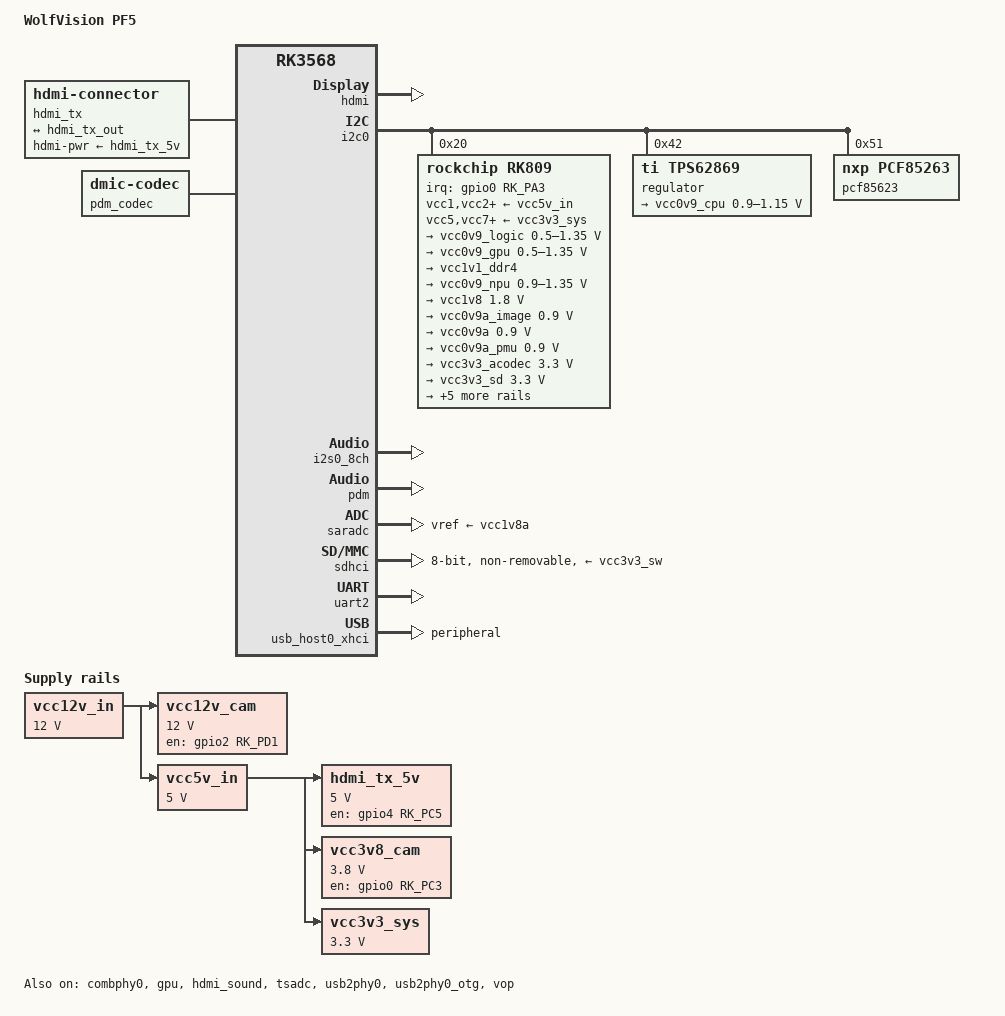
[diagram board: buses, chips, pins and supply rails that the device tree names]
// SPDX-License-Identifier: (GPL-2.0-or-later OR MIT)
/*
 * Device tree for the WolfVision PF5 mainboard.
 *
 * Copyright (C) 2024 WolfVision GmbH.
 */

/dts-v1/;
#include <dt-bindings/gpio/gpio.h>
#include <dt-bindings/pinctrl/rockchip.h>
#include <dt-bindings/regulator/ti,tps62864.h>
#include <dt-bindings/soc/rockchip,vop2.h>
#include "rk3568.dtsi"

/ {
	model = "WolfVision PF5";
	compatible = "wolfvision,rk3568-pf5", "rockchip,rk3568";

	aliases {
		ethernet0 = &gmac0;
		mmc0 = &sdhci;
		rtc0 = &pcf85623;
		rtc1 = &rk809;
	};

	chosen: chosen {
		stdout-path = "serial2:115200n8";
	};

	hdmi_tx: hdmi-tx-connector {
		compatible = "hdmi-connector";
		hdmi-pwr-supply = <&hdmi_tx_5v>;
		type = "a";

		port {
			hdmi_tx_in: endpoint {
				remote-endpoint = <&hdmi_tx_out>;
			};
		};
	};

	hdmi_tx_5v: regulator-hdmi-tx-5v {
		compatible = "regulator-fixed";
		enable-active-high;
		gpio = <&gpio4 RK_PC5 GPIO_ACTIVE_HIGH>;
		pinctrl-names = "default";
		pinctrl-0 = <&hdmi_tx_5v_en>;
		regulator-name = "hdmi_tx_5v";
		regulator-min-microvolt = <5000000>;
		regulator-max-microvolt = <5000000>;
		vin-supply = <&vcc5v_in>;
	};

	pdm_codec: pdm-codec {
		compatible = "dmic-codec";
		num-channels = <2>;
		#sound-dai-cells = <0>;
	};

	pdm_sound: pdm-sound {
		compatible = "simple-audio-card";
		simple-audio-card,name = "microphone";

		simple-audio-card,cpu {
			sound-dai = <&pdm>;
		};

		simple-audio-card,codec {
			sound-dai = <&pdm_codec>;
		};
	};

	vcc12v_cam: regulator-vcc12v-cam {
		compatible = "regulator-fixed";
		enable-active-high;
		gpio = <&gpio2 RK_PD1 GPIO_ACTIVE_HIGH>;
		pinctrl-names = "default";
		pinctrl-0 = <&vcc12v_cam_en>;
		regulator-name = "12v_cam";
		regulator-min-microvolt = <12000000>;
		regulator-max-microvolt = <12000000>;
		vin-supply = <&vcc12v_in>;
	};

	vcc12v_in: regulator-vcc12v-in {
		compatible = "regulator-fixed";
		regulator-name = "12v_in";
		regulator-always-on;
		regulator-boot-on;
		regulator-min-microvolt = <12000000>;
		regulator-max-microvolt = <12000000>;
	};

	vcc3v8_cam: regulator-vcc3v8-cam {
		compatible = "regulator-fixed";
		enable-active-high;
		gpio = <&gpio0 RK_PC3 GPIO_ACTIVE_HIGH>;
		pinctrl-names = "default";
		pinctrl-0 = <&vcc3v8_cam_en>;
		regulator-name = "3v8_cam";
		regulator-min-microvolt = <3800000>;
		regulator-max-microvolt = <3800000>;
		vin-supply = <&vcc5v_in>;
	};

	vcc3v3_sys: regulator-vcc3v3-sys {
		compatible = "regulator-fixed";
		regulator-name = "3v3_sys";
		regulator-always-on;
		regulator-boot-on;
		regulator-min-microvolt = <3300000>;
		regulator-max-microvolt = <3300000>;
		vin-supply = <&vcc5v_in>;
	};

	vcc5v_in: regulator-vcc5v-in {
		compatible = "regulator-fixed";
		regulator-name = "5v_in";
		regulator-always-on;
		regulator-boot-on;
		regulator-min-microvolt = <5000000>;
		regulator-max-microvolt = <5000000>;
		vin-supply = <&vcc12v_in>;
	};
};

&combphy0 {
	status = "okay";
};

&cpu0 {
	cpu-supply = <&vcc0v9_cpu>;
};

&cpu1 {
	cpu-supply = <&vcc0v9_cpu>;
};

&cpu2 {
	cpu-supply = <&vcc0v9_cpu>;
};

&cpu3 {
	cpu-supply = <&vcc0v9_cpu>;
};

&gpu {
	mali-supply = <&vcc0v9_gpu>;
	status = "okay";
};

&hdmi {
	avdd-0v9-supply = <&vcc0v9a_image>;
	avdd-1v8-supply = <&vcc1v8a_image>;
	status = "okay";
};

&hdmi_in {
	hdmi_in_vp0: endpoint {
		remote-endpoint = <&vp0_out_hdmi>;
	};
};

&hdmi_out {
	hdmi_tx_out: endpoint {
		remote-endpoint = <&hdmi_tx_in>;
	};
};

&hdmi_sound {
	status = "okay";
};

&i2c0 {
	status = "okay";

	rk809: pmic@20 {
		compatible = "rockchip,rk809";
		reg = <0x20>;
		interrupt-parent = <&gpio0>;
		interrupts = <RK_PA3 IRQ_TYPE_LEVEL_LOW>;
		#clock-cells = <0>;
		pinctrl-names = "default";
		pinctrl-0 = <&pmic_int_l>;
		system-power-controller;
		vcc1-supply = <&vcc5v_in>;
		vcc2-supply = <&vcc5v_in>;
		vcc3-supply = <&vcc5v_in>;
		vcc4-supply = <&vcc5v_in>;
		vcc5-supply = <&vcc3v3_sys>;
		vcc6-supply = <&vcc5v_in>;
		vcc7-supply = <&vcc3v3_sys>;
		vcc8-supply = <&vcc3v3_sys>;
		vcc9-supply = <&vcc3v3_sys>;
		wakeup-source;

		regulators {
			vcc0v9_logic: DCDC_REG1 {
				regulator-name = "0v9_logic";
				regulator-always-on;
				regulator-boot-on;
				regulator-initial-mode = <0x2>;
				regulator-min-microvolt = <500000>;
				regulator-max-microvolt = <1350000>;
				regulator-ramp-delay = <6001>;

				regulator-state-mem {
					regulator-off-in-suspend;
				};
			};

			vcc0v9_gpu: DCDC_REG2 {
				regulator-name = "0v9_gpu";
				regulator-always-on;
				regulator-initial-mode = <0x2>;
				regulator-min-microvolt = <500000>;
				regulator-max-microvolt = <1350000>;
				regulator-ramp-delay = <6001>;

				regulator-state-mem {
					regulator-off-in-suspend;
				};
			};

			vcc1v1_ddr4: DCDC_REG3 {
				regulator-name = "1v1_ddr4";
				regulator-always-on;
				regulator-boot-on;
				regulator-initial-mode = <0x2>;

				regulator-state-mem {
					regulator-on-in-suspend;
				};
			};

			vcc0v9_npu: DCDC_REG4 {
				regulator-name = "0v9_npu";
				regulator-always-on;
				regulator-initial-mode = <0x2>;
				regulator-min-microvolt = <900000>;
				regulator-max-microvolt = <1350000>;
				regulator-ramp-delay = <6001>;

				regulator-state-mem {
					regulator-off-in-suspend;
				};
			};

			vcc1v8: DCDC_REG5 {
				regulator-name = "1v8";
				regulator-always-on;
				regulator-boot-on;
				regulator-min-microvolt = <1800000>;
				regulator-max-microvolt = <1800000>;

				regulator-state-mem {
					regulator-off-in-suspend;
				};
			};

			vcc0v9a_image: LDO_REG1 {
				regulator-name = "0v9a_image";
				regulator-min-microvolt = <900000>;
				regulator-max-microvolt = <900000>;

				regulator-state-mem {
					regulator-off-in-suspend;
				};
			};

			vcc0v9a: LDO_REG2 {
				regulator-name = "0v9a";
				regulator-always-on;
				regulator-boot-on;
				regulator-min-microvolt = <900000>;
				regulator-max-microvolt = <900000>;

				regulator-state-mem {
					regulator-off-in-suspend;
				};
			};

			vcc0v9a_pmu: LDO_REG3 {
				regulator-name = "0v9a_pmu";
				regulator-always-on;
				regulator-boot-on;
				regulator-min-microvolt = <900000>;
				regulator-max-microvolt = <900000>;

				regulator-state-mem {
					regulator-on-in-suspend;
					regulator-suspend-microvolt = <900000>;
				};
			};

			vcc3v3_acodec: LDO_REG4 {
				regulator-name = "3v3_acodec";
				regulator-always-on;
				regulator-min-microvolt = <3300000>;
				regulator-max-microvolt = <3300000>;

				regulator-state-mem {
					regulator-off-in-suspend;
				};
			};

			vcc3v3_sd: LDO_REG5 {
				regulator-name = "3v3_sd";
				regulator-always-on;
				regulator-boot-on;
				regulator-min-microvolt = <3300000>;
				regulator-max-microvolt = <3300000>;

				regulator-state-mem {
					regulator-off-in-suspend;
				};
			};

			vcc3v3_pmu: LDO_REG6 {
				regulator-name = "3v3_pmu";
				regulator-always-on;
				regulator-boot-on;
				regulator-min-microvolt = <3300000>;
				regulator-max-microvolt = <3300000>;

				regulator-state-mem {
					regulator-on-in-suspend;
					regulator-suspend-microvolt = <3300000>;
				};
			};

			vcc1v8a: LDO_REG7 {
				regulator-name = "1v8a";
				regulator-always-on;
				regulator-boot-on;
				regulator-min-microvolt = <1800000>;
				regulator-max-microvolt = <1800000>;

				regulator-state-mem {
					regulator-off-in-suspend;
				};
			};

			vcc1v8a_pmu: LDO_REG8 {
				regulator-name = "1v8a_pmu";
				regulator-always-on;
				regulator-boot-on;
				regulator-min-microvolt = <1800000>;
				regulator-max-microvolt = <1800000>;

				regulator-state-mem {
					regulator-on-in-suspend;
					regulator-suspend-microvolt = <1800000>;
				};
			};

			vcc1v8a_image: LDO_REG9 {
				regulator-name = "1v8a_image";
				regulator-min-microvolt = <1800000>;
				regulator-max-microvolt = <1800000>;

				regulator-state-mem {
					regulator-off-in-suspend;
				};
			};

			vcc3v3_sw: SWITCH_REG1 {
				regulator-name = "3v3_sw";
				regulator-always-on;
				regulator-boot-on;
				regulator-min-microvolt = <3300000>;
				regulator-max-microvolt = <3300000>;

				regulator-state-mem {
					regulator-off-in-suspend;
				};
			};
		};
	};

	regulator@42 {
		compatible = "ti,tps62869";
		reg = <0x42>;

		regulators {
			vcc0v9_cpu: SW {
				regulator-name = "0v9_cpu";
				regulator-always-on;
				regulator-boot-on;
				regulator-initial-mode = <TPS62864_MODE_FPWM>;
				regulator-min-microvolt = <900000>;
				regulator-max-microvolt = <1150000>;
				vin-supply = <&vcc5v_in>;

				regulator-state-mem {
					regulator-off-in-suspend;
				};
			};
		};
	};

	pcf85623: rtc@51 {
		compatible = "nxp,pcf85263";
		reg = <0x51>;
		pinctrl-names = "default";
		pinctrl-0 = <&clk32k_in>;
		quartz-load-femtofarads = <12500>;
	};
};

&i2c3 {
	pinctrl-names = "default";
	pinctrl-0 = <&i2c3m0_xfer>;
};

&i2c4 {
	pinctrl-names = "default";
	pinctrl-0 = <&i2c4m1_xfer>;
};

&i2s0_8ch {
	status = "okay";
};

&pdm {
	pinctrl-0 = <&pdmm0_clk
		     &pdmm0_sdi0>;
	status = "okay";
};

&pinctrl {
	cam {
		vcc12v_cam_en: vcc12v-cam-en-pinctrl {
			rockchip,pins = <2 RK_PD1 RK_FUNC_GPIO &pcfg_pull_none>;
		};

		vcc3v8_cam_en: vcc3v8-cam-en-pinctrl {
			rockchip,pins = <0 RK_PC3 RK_FUNC_GPIO &pcfg_pull_none>;
		};
	};

	hdmitx {
		hdmi_tx_5v_en: hdmi-tx-5v-en-pinctrl {
			rockchip,pins = <4 RK_PC5 RK_FUNC_GPIO &pcfg_pull_none>;
		};
	};

	pmic {
		pmic_int_l: pmic-int-l-pinctrl {
			rockchip,pins = <0 RK_PA3 RK_FUNC_GPIO &pcfg_pull_up>;
		};
	};
};

&pmu_io_domains {
	pmuio1-supply = <&vcc3v3_pmu>;
	pmuio2-supply = <&vcc3v3_pmu>;
	vccio1-supply = <&vcc3v3_acodec>;
	vccio2-supply = <&vcc1v8>;
	vccio3-supply = <&vcc3v3_sd>;
	vccio4-supply = <&vcc1v8>;
	vccio5-supply = <&vcc1v8>;
	vccio6-supply = <&vcc3v3_sw>;
	vccio7-supply = <&vcc3v3_sw>;
	status = "okay";
};

&saradc {
	vref-supply = <&vcc1v8a>;
	status = "okay";
};

&sdhci {
	bus-width = <8>;
	max-frequency = <200000000>;
	non-removable;
	pinctrl-names = "default";
	pinctrl-0 = <&emmc_bus8 &emmc_clk &emmc_cmd &emmc_datastrobe>;
	vmmc-supply = <&vcc3v3_sw>;
	vqmmc-supply = <&vcc1v8>;
	status = "okay";
};

&tsadc {
	rockchip,hw-tshut-mode = <1>;
	rockchip,hw-tshut-polarity = <0>;
	status = "okay";
};

&uart2 {
	status = "okay";
};

&usb_host0_xhci {
	dr_mode = "peripheral";
	/* The following quirks are required since the bInterval is 1 and we
	 * handle steady ISOC streaming. See Usecase 3 in commit 729dcffd1ed3
	 * ("usb: dwc3: gadget: Add support for disabling U1 and U2 entries").
	 */
	snps,dis-u1-entry-quirk;
	snps,dis-u2-entry-quirk;
	/*
	 * Without this quirk the available fifosize seems to be miscalculated
	 * in cases where many endpoints are used. In one particular situation
	 * 8 IN EPs and 3 OUT EPs where selected and lead to stalled transfers
	 * without the resize quirk.
	 */
	tx-fifo-resize;

	status = "okay";
};

&usb2phy0 {
	status = "okay";
};

&usb2phy0_otg {
	status = "okay";
};

&vop {
	assigned-clocks = <&cru DCLK_VOP0>, <&cru DCLK_VOP2>;
	assigned-clock-parents = <&pmucru PLL_HPLL>, <&cru PLL_VPLL>;
	status = "okay";
};

&vop_mmu {
	status = "okay";
};

&vp0 {
	vp0_out_hdmi: endpoint@ROCKCHIP_VOP2_EP_HDMI0 {
		reg = <ROCKCHIP_VOP2_EP_HDMI0>;
		remote-endpoint = <&hdmi_in_vp0>;
	};
};
